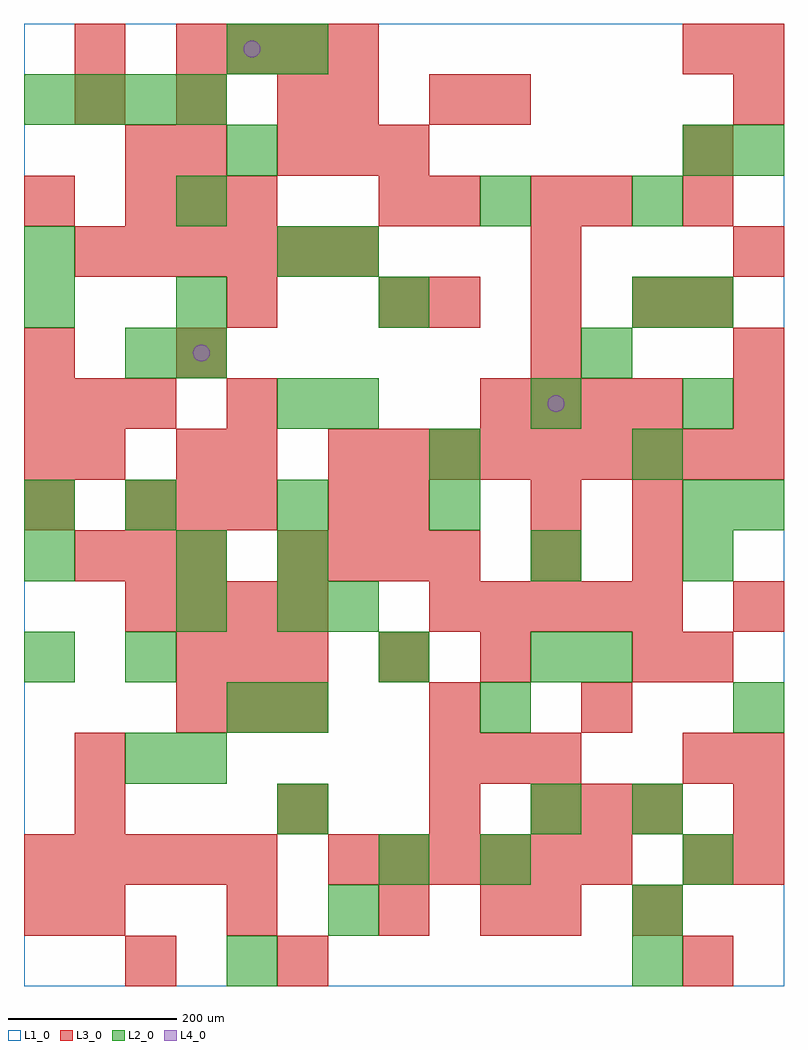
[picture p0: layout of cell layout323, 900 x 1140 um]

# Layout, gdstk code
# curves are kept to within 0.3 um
import gdstk
lib = gdstk.Library(unit=1e-6, precision=1e-09)
def R(c, l, rs):  # rectangles x0, y0, x1, y1
    for r in rs: c.add(gdstk.rectangle(r[:2], r[2:], *l))
def A(c, l, x, y, w, h, nx, ny, dx, dy):  # array of equal rectangles
    R(c, l, [(x+i*dx, y+j*dy, x+i*dx+w, y+j*dy+h) for i in range(nx) for j in range(ny)])
def P(c, l, *ps):  # polygons
    for p in ps: c.add(gdstk.Polygon(p, *l))
L1_0 = (1, 0)
L2_0 = (2, 0)
L3_0 = (3, 0)
L4_0 = (4, 0)

layout323 = lib.new_cell('layout323')
R(layout323, L1_0, [(0,0,900,1140)])
A(layout323, L2_0, 300, 180, 60, 60, 1, 3, 0, 120)
A(layout323, L2_0, 300, 480, 60, 60, 1, 3, 0, 180)
A(layout323, L2_0, 120, 540, 60, 60, 3, 1, 180, 0)
A(layout323, L2_0, 780, 540, 60, 60, 1, 3, 0, 120)
A(layout323, L2_0, 0, 1020, 60, 60, 4, 1, 60, 0)
R(layout323, L2_0, [(240,0,300,60), (720,0,780,60), (360,60,420,120), (720,60,780,120), (420,120,480,180), (540,120,600,180), (780,120,840,180), (600,180,660,240), (720,180,780,240), (120,240,180,300), (180,240,240,300), (240,300,300,360), (540,300,600,360), (840,300,900,360), (0,360,60,420), (120,360,180,420), (420,360,480,420), (600,360,660,420), (660,360,720,420), (180,420,240,480), (360,420,420,480), (0,480,60,540), (180,480,240,540), (600,480,660,540), (780,480,840,540), (0,540,60,600), (840,540,900,600), (480,600,540,660), (720,600,780,660), (360,660,420,720), (600,660,660,720), (120,720,180,780), (180,720,240,780), (660,720,720,780), (0,780,60,840), (180,780,240,840), (420,780,480,840), (720,780,780,840), (0,840,60,900), (360,840,420,900), (180,900,240,960), (540,900,600,960), (720,900,780,960), (240,960,300,1020), (780,960,840,1020), (840,960,900,1020), (240,1080,300,1140), (300,1080,360,1140)])
A(layout323, L3_0, 780, 0, 60, 60, 1, 4, 0, 120)
A(layout323, L3_0, 60, 60, 60, 60, 3, 1, 180, 0)
A(layout323, L3_0, 0, 120, 60, 60, 5, 1, 60, 0)
A(layout323, L3_0, 360, 120, 60, 60, 6, 1, 60, 0)
A(layout323, L3_0, 840, 120, 60, 60, 1, 3, 0, 60)
A(layout323, L3_0, 600, 180, 60, 60, 3, 1, 60, 0)
A(layout323, L3_0, 480, 240, 60, 60, 3, 1, 60, 0)
A(layout323, L3_0, 180, 300, 60, 60, 3, 2, 60, 60)
A(layout323, L3_0, 120, 420, 60, 60, 4, 1, 60, 0)
A(layout323, L3_0, 480, 420, 60, 60, 5, 1, 60, 0)
A(layout323, L3_0, 60, 480, 60, 60, 3, 1, 60, 0)
A(layout323, L3_0, 300, 480, 60, 60, 4, 1, 60, 0)
A(layout323, L3_0, 120, 540, 60, 60, 3, 2, 60, 360)
A(layout323, L3_0, 360, 600, 60, 60, 9, 1, 60, 0)
A(layout323, L3_0, 0, 660, 60, 60, 3, 1, 60, 0)
A(layout323, L3_0, 540, 660, 60, 60, 4, 1, 60, 0)
A(layout323, L3_0, 480, 780, 60, 60, 3, 1, 120, 0)
A(layout323, L3_0, 60, 840, 60, 60, 6, 1, 60, 0)
A(layout323, L3_0, 300, 960, 60, 60, 3, 1, 60, 0)
A(layout323, L3_0, 60, 1020, 60, 60, 3, 1, 120, 0)
A(layout323, L3_0, 180, 1080, 60, 60, 4, 1, 60, 0)
R(layout323, L3_0, [(120,0,180,60), (300,0,360,60), (0,60,60,120), (540,60,600,120), (600,60,660,120), (720,60,780,120), (60,180,120,240), (300,180,360,240), (480,180,540,240), (60,240,120,300), (480,300,540,360), (660,300,720,360), (420,360,480,420), (540,360,600,420), (720,360,780,420), (840,420,900,480), (600,480,660,540), (720,480,780,540), (0,540,60,600), (360,540,420,600), (420,540,480,600), (600,540,660,600), (720,540,780,600), (0,600,60,660), (60,600,120,660), (180,600,240,660), (240,600,300,660), (240,660,300,720), (840,660,900,720), (0,720,60,780), (180,720,240,780), (600,720,660,780), (840,720,900,780), (240,780,300,840), (420,780,480,840), (780,780,840,840), (600,840,660,900), (840,840,900,900), (0,900,60,960), (420,900,480,960), (480,900,540,960), (600,900,660,960), (660,900,720,960), (780,900,840,960), (120,960,180,1020), (180,960,240,1020), (780,960,840,1020), (360,1020,420,1080), (480,1020,540,1080), (540,1020,600,1080), (840,1020,900,1080), (60,1080,120,1140), (780,1080,840,1140), (840,1080,900,1140)])
P(layout323, L4_0, [(220,750),(219.239,753.827),(217.071,757.071),(213.827,759.239),(210,760),(206.173,759.239),(202.929,757.071),(200.761,753.827),(200,750),(200.761,746.173),(202.929,742.929),(206.173,740.761),(210,740),(213.827,740.761),(217.071,742.929),(219.239,746.173)],
  [(280,1110),(279.239,1113.827),(277.071,1117.071),(273.827,1119.239),(270,1120),(266.173,1119.239),(262.929,1117.071),(260.761,1113.827),(260,1110),(260.761,1106.173),(262.929,1102.929),(266.173,1100.761),(270,1100),(273.827,1100.761),(277.071,1102.929),(279.239,1106.173)],
  [(640,690),(639.239,693.827),(637.071,697.071),(633.827,699.239),(630,700),(626.173,699.239),(622.929,697.071),(620.761,693.827),(620,690),(620.761,686.173),(622.929,682.929),(626.173,680.761),(630,680),(633.827,680.761),(637.071,682.929),(639.239,686.173)])

lib.write_gds('layout323.gds')
